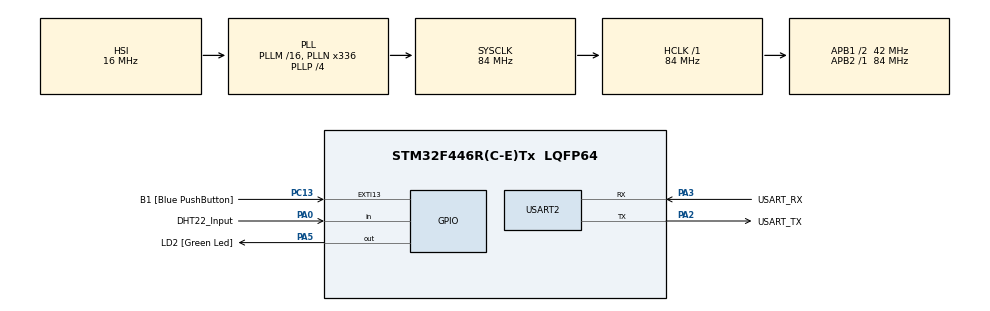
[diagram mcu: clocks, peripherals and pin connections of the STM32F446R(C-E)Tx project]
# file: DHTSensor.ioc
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Mcu.Family=STM32F4
Mcu.Name=STM32F446R(C-E)Tx
Mcu.Package=LQFP64
NVIC.PriorityGroup=NVIC_PRIORITYGROUP_0
PA0-WKUP.GPIO_Label=DHT22_Input
PA0-WKUP.Signal=GPIO_Input
PA13.GPIO_Label=TMS
PA13.Mode=Serial_Wire
PA13.Signal=SYS_JTMS-SWDIO
PA14.GPIO_Label=TCK
PA14.Mode=Serial_Wire
PA14.Signal=SYS_JTCK-SWCLK
PA2.GPIO_Label=USART_TX
PA2.Mode=Asynchronous
PA2.Signal=USART2_TX
PA3.GPIO_Label=USART_RX
PA3.Mode=Asynchronous
PA3.Signal=USART2_RX
PA5.GPIO_Label=LD2 [Green Led]
PA5.Signal=GPIO_Output
PB3.GPIO_Label=SWO
PB3.Signal=SYS_JTDO-SWO
PC13.GPIO_Label=B1 [Blue PushButton]
PC13.GPIO_ModeDefaultEXTI=GPIO_MODE_IT_FALLING
PC13.Signal=GPXTI13
PC14-OSC32_IN.Mode=LSE-External-Oscillator
PC14-OSC32_IN.Signal=RCC_OSC32_IN
PC15-OSC32_OUT.Mode=LSE-External-Oscillator
PC15-OSC32_OUT.Signal=RCC_OSC32_OUT
PH0-OSC_IN.Mode=HSE-External-Oscillator
PH0-OSC_IN.Signal=RCC_OSC_IN
PH1-OSC_OUT.Mode=HSE-External-Oscillator
PH1-OSC_OUT.Signal=RCC_OSC_OUT
ProjectManager.HeapSize=0x200
ProjectManager.StackSize=0x400
ProjectManager.TargetToolchain=STM32CubeIDE
RCC.48MHZClocksFreq_Value=84000000
RCC.AHBFreq_Value=84000000
RCC.APB1CLKDivider=RCC_HCLK_DIV2
RCC.APB1Freq_Value=42000000
RCC.APB1TimFreq_Value=84000000
RCC.APB2Freq_Value=84000000
RCC.APB2TimFreq_Value=84000000
RCC.CortexFreq_Value=84000000
RCC.FLatency-AdvancedSettings=FLASH_LATENCY_2
RCC.HCLKFreq_Value=84000000
RCC.HSE_VALUE=8000000
RCC.HSI_VALUE=16000000
RCC.PLLN=336
RCC.PLLP=RCC_PLLP_DIV4
RCC.SYSCLKFreq_VALUE=84000000
RCC.SYSCLKSource=RCC_SYSCLKSOURCE_PLLCLK
RCC.USBFreq_Value=168000000
RCC.VCOOutputFreq_Value=336000000
USART2.VirtualMode=VM_ASYNC
board=NUCLEO-F446RE

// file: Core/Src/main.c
/* USER CODE BEGIN Header */
/**
 ******************************************************************************
 * @file           : main.c
 * @brief          : Main program body
 ******************************************************************************
 * @attention
 *
 * Copyright (c) 2024 STMicroelectronics.
 * All rights reserved.
 *
 * This software is licensed under terms that can be found in the LICENSE file
 * in the root directory of this software component.
 * If no LICENSE file comes with this software, it is provided AS-IS.
 *
 ******************************************************************************
 */
/* USER CODE END Header */
#include "main.h"

/* USER CODE BEGIN Includes */
#include "string.h"
#include "stdio.h"
#include "stdbool.h"

/* USER CODE END Includes */

/* USER CODE BEGIN PTD */
typedef struct {
    float temperature;
    float humidity;
    bool allBits[40];
} DHT22_DataTypeDef;
/* USER CODE END PTD */

/* USER CODE BEGIN PD */
#define DHT22_GPIO_PORT GPIOA
#define DHT22_GPIO_PIN GPIO_PIN_0
/* USER CODE END PD */

UART_HandleTypeDef huart2;

/* USER CODE BEGIN PV */
void DWT_Init(void) {
    if (!(CoreDebug->DEMCR & CoreDebug_DEMCR_TRCENA_Msk)) {
        CoreDebug->DEMCR |= CoreDebug_DEMCR_TRCENA_Msk;  // トレース機能を有効にする
        DWT->CYCCNT = 0;                                // サイクルカウンタをリセット
        DWT->CTRL |= DWT_CTRL_CYCCNTENA_Msk;            // サイクルカウンタを有効にする
    }
}

void debugPrint(UART_HandleTypeDef *huart, char *message) {
    HAL_UART_Transmit(huart, (uint8_t *) message, strlen(message),
                      HAL_MAX_DELAY);
}

void delay_us(uint16_t micros) {
    uint32_t cycles = (SystemCoreClock / 1000000) * micros; // クロックサイクル数を計算
    uint32_t start = DWT->CYCCNT;

    // サイクル数が加算された後の値がオーバーフローするかどうかをチェックし、適切に処理
    while ((DWT->CYCCNT - start) < cycles);
}

void GPIO_SetMode(GPIO_TypeDef *GPIOx, uint16_t GPIO_Pin, uint32_t Mode,
                  uint32_t Pull, uint32_t Speed) {
    GPIO_InitTypeDef GPIO_InitStruct = {0};

    GPIO_InitStruct.Pin = GPIO_Pin;
    GPIO_InitStruct.Mode = Mode;
    GPIO_InitStruct.Pull = Pull;
    GPIO_InitStruct.Speed = Speed;

    HAL_GPIO_Init(GPIOx, &GPIO_InitStruct);
}

void send_start_signal(void) {
    // ピンを出力モードに設定
    GPIO_SetMode(DHT22_GPIO_PORT, DHT22_GPIO_PIN, GPIO_MODE_OUTPUT_PP,
                 GPIO_NOPULL, GPIO_SPEED_FREQ_LOW);

    HAL_GPIO_WritePin(DHT22_GPIO_PORT, DHT22_GPIO_PIN, GPIO_PIN_RESET);
    delay_us(1000); // 1 ms

    HAL_GPIO_WritePin(DHT22_GPIO_PORT, DHT22_GPIO_PIN, GPIO_PIN_SET);
    delay_us(30); // 20-40 us

    // ピンを入力モードに設定
    GPIO_SetMode(
            DHT22_GPIO_PORT,
            DHT22_GPIO_PIN,
            GPIO_MODE_INPUT,
            GPIO_NOPULL,
            GPIO_SPEED_FREQ_LOW);

    // wait while pin high
    while (HAL_GPIO_ReadPin(DHT22_GPIO_PORT, DHT22_GPIO_PIN) == GPIO_PIN_SET);
    //wait while pin low
    while (HAL_GPIO_ReadPin(DHT22_GPIO_PORT, DHT22_GPIO_PIN) == GPIO_PIN_RESET);
    //wait while pin high
    while (HAL_GPIO_ReadPin(DHT22_GPIO_PORT, DHT22_GPIO_PIN) == GPIO_PIN_SET);
}

// Utility function to convert bit array to byte
static uint8_t bitsToByte(bool bits[8]) {
    uint8_t byte = 0;
    for (int i = 0; i < 8; i++) {
        if (bits[i]) {
            byte |= (1 << (7 - i));
        }
    }
    return byte;
}

// Calculate the actual values and perform checksum validation
static void decodeData(DHT22_DataTypeDef *result, bool bits[40]) {
    bool rh_integral_bits[8], rh_decimal_bits[8], t_integral_bits[8], t_decimal_bits[8], checksum_bits[8];
    memcpy(rh_integral_bits, &bits[0], 8);
    memcpy(rh_decimal_bits, &bits[8], 8);
    memcpy(t_integral_bits, &bits[16], 8);
    memcpy(t_decimal_bits, &bits[24], 8);
    memcpy(checksum_bits, &bits[32], 8);

    uint8_t rh_integral = bitsToByte(rh_integral_bits);
    uint8_t rh_decimal = bitsToByte(rh_decimal_bits);
    uint8_t t_integral = bitsToByte(t_integral_bits);
    uint8_t t_decimal = bitsToByte(t_decimal_bits);
    uint8_t checksum_received = bitsToByte(checksum_bits);

    uint8_t checksum_calculated = rh_integral + rh_decimal + t_integral + t_decimal;

    // Calculate humidity and temperature correctly
    result->humidity = (rh_integral * 256 + rh_decimal) / 10.0f;
    float temp = (t_integral * 256 + t_decimal) / 10.0f;
    result->temperature = (bits[16] ? -temp : temp); // Adjust sign based on the highest bit of the temperature data

    // Checksum validation
    if (checksum_received != checksum_calculated) {
        debugPrint(&huart2, "Checksum error!\r\n");
    }
}

// Main data reading function
DHT22_DataTypeDef DHT22_ReadData(void) {
    bool allBits[40];
    DHT22_DataTypeDef result = {0.0f, 0.0f, {false}};

    send_start_signal();

    for (int i = 0; i < 40; i++) {
        // Wait for signal LOW period
        while (HAL_GPIO_ReadPin(DHT22_GPIO_PORT, DHT22_GPIO_PIN) == GPIO_PIN_RESET);

        // Measure the length of the HIGH period
        uint32_t start = DWT->CYCCNT;
        while (HAL_GPIO_ReadPin(DHT22_GPIO_PORT, DHT22_GPIO_PIN) == GPIO_PIN_SET);
        uint32_t cycles = DWT->CYCCNT - start;

        float spentUs = cycles * (1000000.0f / SystemCoreClock);
        allBits[i] = (spentUs > 40); // Determine if the bit is '0' or '1'
    }

    decodeData(&result, allBits);
    memcpy(result.allBits, allBits, sizeof(allBits));

    return result;
}

/* USER CODE END PV */

void SystemClock_Config(void);

static void MX_GPIO_Init(void);

static void MX_USART2_UART_Init(void);

int main(void) {

    /* MCU Configuration--------------------------------------------------------*/

    /* Reset of all peripherals, Initializes the Flash interface and the Systick. */
    HAL_Init();

    /* Configure the system clock */
    SystemClock_Config();

    /* USER CODE BEGIN SysInit */
    DWT_Init();

    /* USER CODE END SysInit */

    /* Initialize all configured peripherals */
    MX_GPIO_Init();
    MX_USART2_UART_Init();

    /* Infinite loop */
    /* USER CODE BEGIN WHILE */
    while (1) {
        // センサーからデータを読み取る
        DHT22_DataTypeDef sensor_data;
        sensor_data = DHT22_ReadData();

        // データを文字列にフォーマット
//		char bitsString[41]; // 40 bits + null terminator
//		for (int i = 0; i < 40; i++) {
//		    bitsString[i] = '0' + sensor_data.allBits[i]; // '0' または '1' の文字に変換
//		}
//		bitsString[40] = '\0'; // 文字列の終端

        // 変換された文字列を出力
//		debugPrint(&huart2, "All Bits: ");
//		debugPrint(&huart2, bitsString);
//		debugPrint(&huart2, "\r\n");

        char buffer[100];
        sprintf(buffer, "Temperature: %.2f C, Humidity: %.2f %%\r\n",
                sensor_data.temperature, sensor_data.humidity);
        debugPrint(&huart2, buffer);

        debugPrint(&huart2, "Continue...\r\n");
        // 次のデータ読み取りまでの間隔
        HAL_Delay(4000);

    }
    /* USER CODE END WHILE */

}

void SystemClock_Config(void) {
    RCC_OscInitTypeDef RCC_OscInitStruct = {0};
    RCC_ClkInitTypeDef RCC_ClkInitStruct = {0};

    /** Configure the main internal regulator output voltage
    */
    __HAL_RCC_PWR_CLK_ENABLE();
    __HAL_PWR_VOLTAGESCALING_CONFIG(PWR_REGULATOR_VOLTAGE_SCALE3);

    /** Initializes the RCC Oscillators according to the specified parameters
    * in the RCC_OscInitTypeDef structure.
    */
    RCC_OscInitStruct.OscillatorType = RCC_OSCILLATORTYPE_HSI;
    RCC_OscInitStruct.HSIState = RCC_HSI_ON;
    RCC_OscInitStruct.HSICalibrationValue = RCC_HSICALIBRATION_DEFAULT;
    RCC_OscInitStruct.PLL.PLLState = RCC_PLL_ON;
    RCC_OscInitStruct.PLL.PLLSource = RCC_PLLSOURCE_HSI;
    RCC_OscInitStruct.PLL.PLLM = 16;
    RCC_OscInitStruct.PLL.PLLN = 336;
    RCC_OscInitStruct.PLL.PLLP = RCC_PLLP_DIV4;
    RCC_OscInitStruct.PLL.PLLQ = 2;
    RCC_OscInitStruct.PLL.PLLR = 2;
    if (HAL_RCC_OscConfig(&RCC_OscInitStruct) != HAL_OK) {
        Error_Handler();
    }

    /** Initializes the CPU, AHB and APB buses clocks
    */
    RCC_ClkInitStruct.ClockType = RCC_CLOCKTYPE_HCLK | RCC_CLOCKTYPE_SYSCLK
                                  | RCC_CLOCKTYPE_PCLK1 | RCC_CLOCKTYPE_PCLK2;
    RCC_ClkInitStruct.SYSCLKSource = RCC_SYSCLKSOURCE_PLLCLK;
    RCC_ClkInitStruct.AHBCLKDivider = RCC_SYSCLK_DIV1;
    RCC_ClkInitStruct.APB1CLKDivider = RCC_HCLK_DIV2;
    RCC_ClkInitStruct.APB2CLKDivider = RCC_HCLK_DIV1;

    if (HAL_RCC_ClockConfig(&RCC_ClkInitStruct, FLASH_LATENCY_2) != HAL_OK) {
        Error_Handler();
    }
}

static void MX_USART2_UART_Init(void) {

    huart2.Instance = USART2;
    huart2.Init.BaudRate = 115200;
    huart2.Init.WordLength = UART_WORDLENGTH_8B;
    huart2.Init.StopBits = UART_STOPBITS_1;
    huart2.Init.Parity = UART_PARITY_NONE;
    huart2.Init.Mode = UART_MODE_TX_RX;
    huart2.Init.HwFlowCtl = UART_HWCONTROL_NONE;
    huart2.Init.OverSampling = UART_OVERSAMPLING_16;
    if (HAL_UART_Init(&huart2) != HAL_OK) {
        Error_Handler();
    }

}

static void MX_GPIO_Init(void) {
    GPIO_InitTypeDef GPIO_InitStruct = {0};

    /* GPIO Ports Clock Enable */
    __HAL_RCC_GPIOC_CLK_ENABLE();
    __HAL_RCC_GPIOH_CLK_ENABLE();
    __HAL_RCC_GPIOA_CLK_ENABLE();
    __HAL_RCC_GPIOB_CLK_ENABLE();

    /*Configure GPIO pin Output Level */
    HAL_GPIO_WritePin(LD2_GPIO_Port, LD2_Pin, GPIO_PIN_RESET);

    /*Configure GPIO pin : B1_Pin */
    GPIO_InitStruct.Pin = B1_Pin;
    GPIO_InitStruct.Mode = GPIO_MODE_IT_FALLING;
    GPIO_InitStruct.Pull = GPIO_NOPULL;
    HAL_GPIO_Init(B1_GPIO_Port, &GPIO_InitStruct);

    /*Configure GPIO pin : DHT22_Input_Pin */
    GPIO_InitStruct.Pin = DHT22_Input_Pin;
    GPIO_InitStruct.Mode = GPIO_MODE_INPUT;
    GPIO_InitStruct.Pull = GPIO_NOPULL;
    HAL_GPIO_Init(DHT22_Input_GPIO_Port, &GPIO_InitStruct);

    /*Configure GPIO pin : LD2_Pin */
    GPIO_InitStruct.Pin = LD2_Pin;
    GPIO_InitStruct.Mode = GPIO_MODE_OUTPUT_PP;
    GPIO_InitStruct.Pull = GPIO_NOPULL;
    GPIO_InitStruct.Speed = GPIO_SPEED_FREQ_LOW;
    HAL_GPIO_Init(LD2_GPIO_Port, &GPIO_InitStruct);

}

void Error_Handler(void) {
    __disable_irq();
    while (1) {
    }
}
